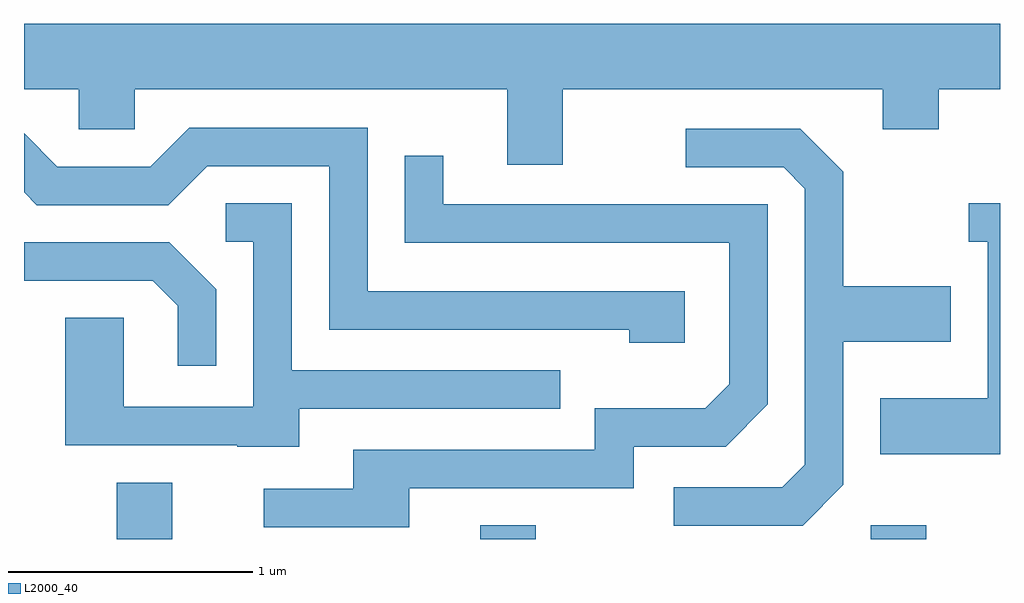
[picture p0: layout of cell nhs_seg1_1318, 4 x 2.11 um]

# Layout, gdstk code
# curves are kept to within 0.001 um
import gdstk
lib = gdstk.Library(unit=1e-6, precision=1e-09)
def R(c, l, rs):  # rectangles x0, y0, x1, y1
    for r in rs: c.add(gdstk.rectangle(r[:2], r[2:], *l))
def P(c, l, *ps):  # polygons
    for p in ps: c.add(gdstk.Polygon(p, *l))
L2000_40 = (2000, 40)

nhs_seg1_1318 = lib.new_cell('nhs_seg1_1318')
R(nhs_seg1_1318, L2000_40, [(225.991,917.712,226.219,917.944), (227.481,917.712,227.709,917.769), (229.081,917.712,229.309,917.769)])
P(nhs_seg1_1318, L2000_40, [(227.819,919.556),(229.131,919.556),(229.131,919.391),(229.359,919.391),(229.359,919.556),(229.611,919.556),(229.611,919.824),(225.611,919.824),(225.611,919.556),(225.836,919.556),(225.836,919.391),(226.064,919.391),(226.064,919.556),(227.591,919.556),(227.591,919.246),(227.819,919.246)],
  [(228.319,918.729),(227.019,918.729),(227.019,919.399),(226.289,919.399),(226.129,919.239),(225.747,919.239),(225.611,919.375),(225.611,919.134),(225.664,919.081),(226.202,919.081),(226.362,919.241),(226.861,919.241),(226.861,918.571),(228.091,918.571),(228.091,918.516),(228.319,918.516)],
  [(228.969,917.934),(228.969,918.521),(229.409,918.521),(229.409,918.749),(228.969,918.749),(228.969,919.217),(228.792,919.394),(228.323,919.394),(228.323,919.236),(228.724,919.236),(228.811,919.149),(228.811,918.017),(228.719,917.924),(228.273,917.924),(228.273,917.766),(228.802,917.766)],
  [(227.189,917.921),(228.109,917.921),(228.109,918.091),(228.487,918.091),(228.659,918.264),(228.659,919.084),(227.329,919.084),(227.329,919.283),(227.171,919.283),(227.171,918.926),(228.501,918.926),(228.501,918.347),(228.404,918.249),(227.951,918.249),(227.951,918.079),(226.961,918.079),(226.961,917.919),(226.593,917.919),(226.593,917.761),(227.189,917.761)],
  [(229.611,919.089),(229.483,919.089),(229.483,918.931),(229.561,918.931),(229.561,918.289),(229.121,918.289),(229.121,918.061),(229.611,918.061)],
  [(226.739,918.246),(227.808,918.246),(227.808,918.404),(226.709,918.404),(226.709,919.089),(226.438,919.089),(226.438,918.931),(226.551,918.931),(226.551,918.254),(226.019,918.254),(226.019,918.619),(225.781,918.619),(225.781,918.096),(226.485,918.096),(226.485,918.091),(226.739,918.091)],
  [(226.399,918.737),(226.207,918.929),(225.611,918.929),(225.611,918.771),(226.139,918.771),(226.241,918.669),(226.241,918.423),(226.399,918.423)])

lib.write_gds('nhs_seg1_1318.gds')
